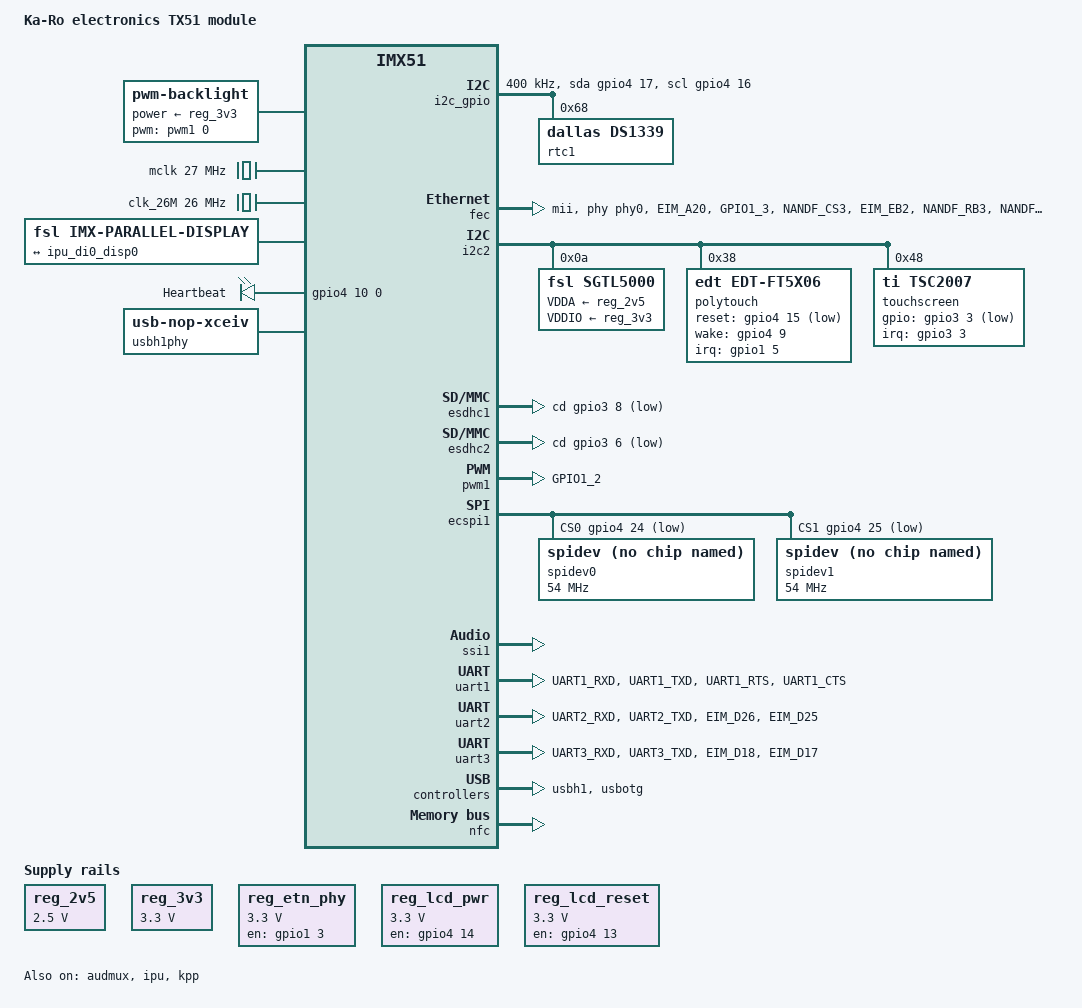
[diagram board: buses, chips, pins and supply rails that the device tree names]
/*
 * Copyright 2012-2014 Lothar Waßmann <LW@KARO-electronics.de>
 *
 * The code contained herein is licensed under the GNU General Public
 * License. You may obtain a copy of the GNU General Public License
 * Version 2 at the following locations:
 *
 * http://www.opensource.org/licenses/gpl-license.html
 * http://www.gnu.org/copyleft/gpl.html
 */

/dts-v1/;
#include "imx51.dtsi"
#include <dt-bindings/gpio/gpio.h>
#include <dt-bindings/input/input.h>
#include <dt-bindings/pwm/pwm.h>

/ {
	model = "Ka-Ro electronics TX51 module";
	compatible = "karo,tx51", "fsl,imx51";

	aliases {
		backlight = &backlight;
		display = &display;
		i2c1 = &i2c_gpio;
		usbotg = &usbotg;
	};

	chosen {
		stdout-path = &uart1;
	};

	backlight: pwm-backlight {
		compatible = "pwm-backlight";

		pwms = <&pwm1 0 500000 PWM_POLARITY_INVERTED>;
		power-supply = <&reg_3v3>;
		brightness-levels = <
			  0  1  2  3  4  5  6  7  8  9
			 10 11 12 13 14 15 16 17 18 19
			 20 21 22 23 24 25 26 27 28 29
			 30 31 32 33 34 35 36 37 38 39
			 40 41 42 43 44 45 46 47 48 49
			 50 51 52 53 54 55 56 57 58 59
			 60 61 62 63 64 65 66 67 68 69
			 70 71 72 73 74 75 76 77 78 79
			 80 81 82 83 84 85 86 87 88 89
			 90 91 92 93 94 95 96 97 98 99
			100
		>;
		default-brightness-level = <50>;
	};

	clocks {
		ckih1 {
			clock-frequency = <0>;
		};

		mclk: clock@0 {
			compatible = "fixed-clock";
			reg = <0>;
			#clock-cells = <0>;
			clock-frequency = <27000000>;
		};

		clk_26M: clock@1 {
			compatible = "fixed-clock";
			reg = <1>;
			#clock-cells = <0>;
			clock-frequency = <26000000>;
			gpios = <&gpio1 7 GPIO_ACTIVE_HIGH>;
		};
	};

	display: display@di0 {
		compatible = "fsl,imx-parallel-display";
		interface-pix-fmt = "rgb24";
		pinctrl-names = "default";
		pinctrl-0 = <&pinctrl_ipu_disp0>;

		port {
			display0_in: endpoint {
				remote-endpoint = <&ipu_di0_disp0>;
			};
		};

		display-timings {
			VGA {
				clock-frequency = <25200000>;
				hactive = <640>;
				vactive = <480>;
				hback-porch = <48>;
				hsync-len = <96>;
				hfront-porch = <16>;
				vback-porch = <31>;
				vsync-len = <2>;
				vfront-porch = <12>;
				hsync-active = <0>;
				vsync-active = <0>;
				de-active = <1>;
				pixelclk-active = <0>;
			};

			ETV570 {
				clock-frequency = <25200000>;
				hactive = <640>;
				vactive = <480>;
				hback-porch = <114>;
				hsync-len = <30>;
				hfront-porch = <16>;
				vback-porch = <32>;
				vsync-len = <3>;
				vfront-porch = <10>;
				hsync-active = <0>;
				vsync-active = <0>;
				de-active = <1>;
				pixelclk-active = <0>;
			};

			ET0350 {
				clock-frequency = <6413760>;
				hactive = <320>;
				vactive = <240>;
				hback-porch = <34>;
				hsync-len = <34>;
				hfront-porch = <20>;
				vback-porch = <15>;
				vsync-len = <3>;
				vfront-porch = <4>;
				hsync-active = <0>;
				vsync-active = <0>;
				de-active = <1>;
				pixelclk-active = <0>;
			};

			ET0430 {
				clock-frequency = <9009000>;
				hactive = <480>;
				vactive = <272>;
				hback-porch = <2>;
				hsync-len = <41>;
				hfront-porch = <2>;
				vback-porch = <2>;
				vsync-len = <10>;
				vfront-porch = <2>;
				hsync-active = <0>;
				vsync-active = <0>;
				de-active = <1>;
				pixelclk-active = <1>;
			};

			ET0500 {
				clock-frequency = <33264000>;
				hactive = <800>;
				vactive = <480>;
				hback-porch = <88>;
				hsync-len = <128>;
				hfront-porch = <40>;
				vback-porch = <33>;
				vsync-len = <2>;
				vfront-porch = <10>;
				hsync-active = <0>;
				vsync-active = <0>;
				de-active = <1>;
				pixelclk-active = <0>;
			};

			ET0700 { /* same as ET0500 */
				clock-frequency = <33264000>;
				hactive = <800>;
				vactive = <480>;
				hback-porch = <88>;
				hsync-len = <128>;
				hfront-porch = <40>;
				vback-porch = <33>;
				vsync-len = <2>;
				vfront-porch = <10>;
				hsync-active = <0>;
				vsync-active = <0>;
				de-active = <1>;
				pixelclk-active = <0>;
			};

			ETQ570 {
				clock-frequency = <6596040>;
				hactive = <320>;
				vactive = <240>;
				hback-porch = <38>;
				hsync-len = <30>;
				hfront-porch = <30>;
				vback-porch = <16>;
				vsync-len = <3>;
				vfront-porch = <4>;
				hsync-active = <0>;
				vsync-active = <0>;
				de-active = <1>;
				pixelclk-active = <0>;
			};
		};
	};

	i2c_gpio: i2c-gpio {
		#address-cells = <1>;
		#size-cells = <0>;
		compatible = "i2c-gpio";
		gpios = <&gpio4 17 0
			 &gpio4 16 0>;
		clock-frequency = <400000>;

		rtc1: ds1339@68 {
			compatible = "dallas,ds1339";
			reg = <0x68>;
		};
	};

	leds {
		compatible = "gpio-leds";
		pinctrl-names = "default";
		pinctrl-0 = <&pinctrl_stk5led>;

		user {
			label = "Heartbeat";
			gpios = <&gpio4 10 0 GPIO_ACTIVE_HIGH>;
			linux,default-trigger = "heartbeat";
		};
	};

	regulators {
		compatible = "simple-bus";
		#address-cells = <1>;
		#size-cells = <0>;

		reg_2v5: regulator@0 {
			compatible = "regulator-fixed";
			reg = <0>;
			regulator-name = "2V5";
			regulator-min-microvolt = <2500000>;
			regulator-max-microvolt = <2500000>;
			regulator-always-on;
		};

		reg_3v3: regulator@1 {
			compatible = "regulator-fixed";
			reg = <1>;
			regulator-name = "3V3";
			regulator-min-microvolt = <3300000>;
			regulator-max-microvolt = <3300000>;
			regulator-always-on;
		};

		reg_etn_phy: regulator@2 {
			compatible = "regulator-fixed";
			reg = <2>;
			regulator-name = "ETN PHY Power";
			regulator-min-microvolt = <3300000>;
			regulator-max-microvolt = <3300000>;
			gpio = <&gpio1 3 GPIO_ACTIVE_HIGH>;
			enable-active-high;
			regulator-boot-on;
			regulator-always-on;
		};

		reg_lcd_pwr: regulator@5 {
			compatible = "regulator-fixed";
			reg = <5>;
			regulator-name = "LCD POWER";
			regulator-min-microvolt = <3300000>;
			regulator-max-microvolt = <3300000>;
			gpio = <&gpio4 14 GPIO_ACTIVE_HIGH>;
			enable-active-high;
			regulator-boot-on;
			regulator-always-on;
		};

		reg_lcd_reset: regulator@6 {
			compatible = "regulator-fixed";
			reg = <6>;
			regulator-name = "LCD RESET";
			regulator-min-microvolt = <3300000>;
			regulator-max-microvolt = <3300000>;
			pinctrl-names = "default";
			pinctrl-0 = <&pinctrl_lcd_reset>;
			gpio = <&gpio4 13 GPIO_ACTIVE_HIGH>;
			enable-active-high;
			regulator-boot-on;
			regulator-always-on;
		};
	};

	sound {
		compatible = "karo,tx51-audio-sgtl5000", "fsl,imx-sgtl5000";
		model = "tx53-audio-sgtl5000";
		ssi-controller = <&ssi1>;
		audio-codec = <&sgtl5000>;
		audio-routing =
			"MIC_IN", "Mic Jack",
			"Mic Jack", "Mic Bias",
			"Headphone Jack", "HP_OUT";
		/* '1' based port numbers according to datasheet names */
		mux-int-port = <1>;
		mux-ext-port = <3>;
		sysclk = <26000000>;
	};

	usbphy {
		#address-cells = <1>;
		#size-cells = <0>;
		compatible = "simple-bus";

		usbh1phy: usbh1phy@0 {
			compatible = "usb-nop-xceiv";
			reg = <0>;
			clocks = <&clk_26M>;
			clock-names = "main_clk";
		};
	};
};

&audmux {
	status = "okay";
};

&fec {
	pinctrl-names = "default";
	pinctrl-0 = <&pinctrl_fec>;
	phy-mode = "mii";
//	phy-reset-gpios = <&gpio2 14 GPIO_ACTIVE_LOW>;
	phy-handle = <&phy0>;
	mac-address = [000000000000]; /* will be set by U-Boot */
	status = "okay";

	phy0: ethernet-phy@0 {
		interrupt-parent = <&gpio3>;
		interrupts = <18 0>;
		device_type = "ethernet-phy";
	};
};

&ipu {
	status = "okay";
};

&i2c2 {
	status = "okay";

	sgtl5000: sgtl5000@0a {
		compatible = "fsl,sgtl5000";
		reg = <0x0a>;
		clocks = <&mclk>;
		VDDA-supply = <&reg_2v5>;
		VDDIO-supply = <&reg_3v3>;
	};

	polytouch: edt-ft5x06@38 {
		compatible = "edt,edt-ft5x06";
		reg = <0x38>;
		pinctrl-names = "default";
		pinctrl-0 = <&pinctrl_edt_ft5x06>;
		interrupt-parent = <&gpio1>;
		interrupts = <5 0>;
		reset-gpios = <&gpio4 15 GPIO_ACTIVE_LOW>;
		wake-gpios = <&gpio4 9 GPIO_ACTIVE_HIGH>;
	};

	touchscreen: tsc2007@48 {
		compatible = "ti,tsc2007";
		reg = <0x48>;
		pinctrl-names = "default";
		pinctrl-0 = <&pinctrl_tsc2007>;
		interrupt-parent = <&gpio3>;
		interrupts = <3 0>;
		gpios = <&gpio3 3 GPIO_ACTIVE_LOW>;
		ti,x-plate-ohms = <660>;
		linux,wakeup;
	};
};

&iomuxc {
	imx51-tx51 {
		pinctrl_hog: hoggrp {
			fsl,pins = <
				MX51_PAD_GPIO1_7__GPIO1_7	0x20e0	/* 26MHz osc enable */
			>;
		};

		pinctrl_edt_ft5x06: edt-ft5x056grp {
			fsl,pins = <
				MX51_PAD_GPIO1_5__GPIO1_5	0x20e0	/* Interrupt */
				MX51_PAD_CSI2_PIXCLK__GPIO4_15	0x20e0	/* Reset */
				MX51_PAD_CSI2_D12__GPIO4_9	0x20e0	/* Wake */
			>;
		};

		pinctrl_fec: fecgrp {
			fsl,pins = <
				MX51_PAD_EIM_A20__GPIO2_14	0x20e4	/* PHY reset */
				MX51_PAD_GPIO1_3__GPIO1_3	0x20e4	/* PHY power */
				MX51_PAD_NANDF_CS3__FEC_MDC	0x2004
				MX51_PAD_EIM_EB2__FEC_MDIO	0x0005
				MX51_PAD_NANDF_RB3__FEC_RX_CLK	0x2000
				MX51_PAD_NANDF_D11__FEC_RX_DV	0x2000
				MX51_PAD_NANDF_D9__FEC_RDATA0	0x2000
				MX51_PAD_EIM_EB3__FEC_RDATA1	0x0001
				MX51_PAD_EIM_CS2__FEC_RDATA2	0x0001
				MX51_PAD_EIM_CS3__FEC_RDATA3	0x0001
				MX51_PAD_EIM_CS4__FEC_RX_ER	0x0001
				MX51_PAD_NANDF_RDY_INT__FEC_TX_CLK 0x2000
				MX51_PAD_NANDF_CS7__FEC_TX_EN	0x2004
				MX51_PAD_NANDF_D8__FEC_TDATA0	0x2004
				MX51_PAD_NANDF_CS4__FEC_TDATA1	0x2004
				MX51_PAD_NANDF_CS5__FEC_TDATA2	0x2004
				MX51_PAD_NANDF_CS6__FEC_TDATA3	0x2004
				MX51_PAD_NANDF_RB2__FEC_COL	0x2000
				MX51_PAD_EIM_CS5__FEC_CRS	0x0005
				MX51_PAD_NANDF_CS2__GPIO3_18	0x20e4
			>;
		};

		pinctrl_fec_gpio: fec-gpiogrp {
			fsl,pins = <
				MX51_PAD_EIM_A20__GPIO2_14	0x20e4	/* PHY reset */
				MX51_PAD_GPIO1_3__GPIO1_3	0x20e4	/* PHY power */
				MX51_PAD_NANDF_RB3__GPIO3_11	0x20e4	/* RX_CLK/REGOFF */
				MX51_PAD_NANDF_D9__GPIO3_31	0x20e4	/* RXD0/Mode0 */
				MX51_PAD_EIM_EB3__GPIO2_23	0x20e4	/* RXD1/Mode1 */
				MX51_PAD_EIM_CS2__GPIO2_27	0x20e4	/* RXD2/Mode2 */
				MX51_PAD_EIM_CS3__GPIO2_28	0x20e4	/* RXD3/nINTSEL */
				MX51_PAD_NANDF_RB2__GPIO3_10	0x20e4	/* COL/RMII/CRSDV */
				MX51_PAD_EIM_CS5__GPIO2_30	0x20e4	/* CRS/PHYAD4 */
			>;
		};

		pinctrl_ipu_disp0: ipu-disp0grp {
			fsl,pins = <
			>;
		};

		pinctrl_kpp_2: kppgrp-2 {
			fsl,pins = <
				MX51_PAD_KEY_ROW0__KEY_ROW0	0xe0
				MX51_PAD_KEY_ROW1__KEY_ROW1	0xe0
				MX51_PAD_KEY_ROW2__KEY_ROW2	0xe0
				MX51_PAD_KEY_ROW3__KEY_ROW3	0xe0
				MX51_PAD_KEY_COL0__KEY_COL0	0xe8
				MX51_PAD_KEY_COL1__KEY_COL1	0xe8
				MX51_PAD_KEY_COL2__KEY_COL2	0xe8
				MX51_PAD_KEY_COL3__KEY_COL3	0xe8
				MX51_PAD_KEY_COL4__KEY_COL4	0xe8
				MX51_PAD_KEY_COL5__KEY_COL5	0xe8
			>;
		};

		pinctrl_lcd_pwr: lcd-pwrgrp {
			fsl,pins = <
				MX51_PAD_CSI2_HSYNC__GPIO4_14	0x04
			>;
		};

		pinctrl_lcd_reset: lcd-resetgrp {
			fsl,pins = <
				MX51_PAD_CSI2_VSYNC__GPIO4_13	0x04
			>;
		};

		pinctrl_pwm1: pwm1grp {
			fsl,pins = <
				MX51_PAD_GPIO1_2__PWM1_PWMO	0x0f4
			>;
		};

		pinctrl_stk5led: stk5ledgrp {
			fsl,pins = <
				MX51_PAD_CSI2_D13__GPIO4_10	0x20e4
			>;
		};

		pinctrl_tsc2007: tsc2007grp {
			fsl,pins = <
				MX51_PAD_DI1_D0_CS__GPIO3_3	0xc0	/* Interrupt */
			>;
		};

		pinctrl_uart1: uart1grp {
			fsl,pins = <
				MX51_PAD_UART1_RXD__UART1_RXD	0x1c1
				MX51_PAD_UART1_TXD__UART1_TXD	0x1c5
				MX51_PAD_UART1_RTS__UART1_RTS	0x1c1
				MX51_PAD_UART1_CTS__UART1_CTS	0x1c5
			>;
		};

		pinctrl_uart2: uart2grp {
			fsl,pins = <
				MX51_PAD_UART2_RXD__UART2_RXD	0x1c1
				MX51_PAD_UART2_TXD__UART2_TXD	0x1c5
				MX51_PAD_EIM_D26__UART2_RTS	0x1c1
				MX51_PAD_EIM_D25__UART2_CTS	0x1c5
			>;
		};

		pinctrl_uart3: uart3grp {
			fsl,pins = <
				MX51_PAD_UART3_RXD__UART3_RXD	0x1c1
				MX51_PAD_UART3_TXD__UART3_TXD	0x1c5
				MX51_PAD_EIM_D18__UART3_RTS	0x1c1
				MX51_PAD_EIM_D17__UART3_CTS	0x1c5
			>;
		};
	};
};

&ipu_di0_disp0 {
	remote-endpoint = <&display0_in>;
};

&kpp {
	status = "okay";

	linux,keymap = <	/* sample keymap */
		MATRIX_KEY(0, 0, KEY_POWER)
		MATRIX_KEY(0, 1, KEY_KP0)
		MATRIX_KEY(0, 2, KEY_KP1)
		MATRIX_KEY(0, 3, KEY_KP2)
		MATRIX_KEY(1, 0, KEY_KP3)
		MATRIX_KEY(1, 1, KEY_KP4)
		MATRIX_KEY(1, 2, KEY_KP5)
		MATRIX_KEY(1, 3, KEY_KP6)
		MATRIX_KEY(2, 0, KEY_KP7)
		MATRIX_KEY(2, 1, KEY_KP8)
		MATRIX_KEY(2, 2, KEY_KP9)
	>;
};

&esdhc1 {
	cd-gpios = <&gpio3 8 GPIO_ACTIVE_LOW>;
	fsl,wp-controller;
	status = "okay";
};

&esdhc2 {
	cd-gpios = <&gpio3 6 GPIO_ACTIVE_LOW>;
	fsl,wp-controller;
	status = "okay";
};

&pwm1 {
	pinctrl-names = "default";
	pinctrl-0 = <&pinctrl_pwm1>;
};

&ecspi1 {
	fsl,spi-num-chipselects = <2>;
	cs-gpios = <&gpio4 24 GPIO_ACTIVE_LOW &gpio4 25 GPIO_ACTIVE_LOW>;
	status = "okay";

	spidev0: spi@0 {
		compatible = "spidev";
		reg = <0>;
		spi-max-frequency = <54000000>;
	};

	spidev1: spi@1 {
		compatible = "spidev";
		reg = <1>;
		spi-max-frequency = <54000000>;
	};
};

&ssi1 {
	fsl,mode = "i2s-slave";
	codec-handle = <&sgtl5000>;
	status = "okay";
};

&ssi2 {
	status = "disabled";
};

&uart1 {
	pinctrl-names = "default";
	pinctrl-0 = <&pinctrl_uart1>;
	fsl,uart-has-rtscts;
	status = "okay";
};

&uart2 {
	pinctrl-names = "default";
	pinctrl-0 = <&pinctrl_uart2>;
	fsl,uart-has-rtscts;
	status = "okay";
};

&uart3 {
	pinctrl-names = "default";
	pinctrl-0 = <&pinctrl_uart3>;
	fsl,uart-has-rtscts;
	status = "okay";
};

&usbh1 {
	phy_type = "ulpi";
	fsl,usbphy = <&usbh1phy>;
	ignore-overcurrent;
	enable-wakeup;
	status = "okay";
};

&usbotg {
	ignore-overcurrent;
	enable-wakeup;
	phy_type = "utmi_wide";
	status = "okay";
};

&nfc {
	nand-bus-width = <8>;
	nand-ecc-mode = "hw";
	nand-on-flash-bbt;
	status = "okay";
};
